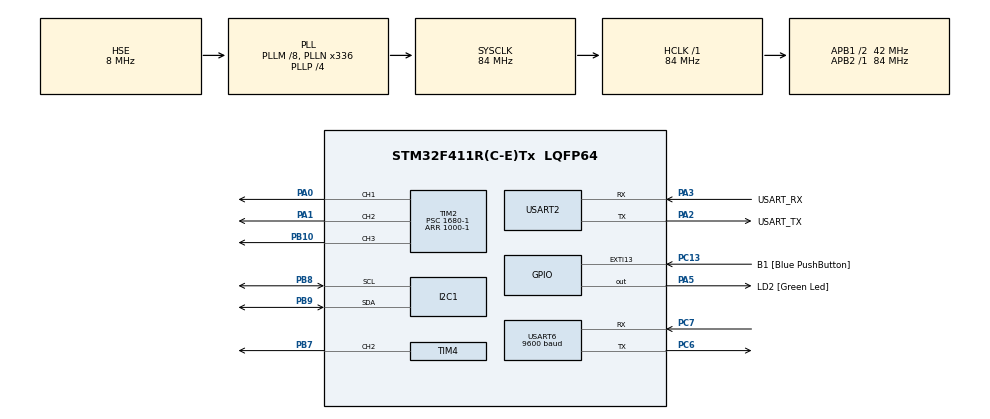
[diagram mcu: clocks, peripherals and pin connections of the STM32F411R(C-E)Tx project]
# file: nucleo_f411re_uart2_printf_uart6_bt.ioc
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Mcu.Family=STM32F4
Mcu.Name=STM32F411R(C-E)Tx
Mcu.Package=LQFP64
NVIC.PriorityGroup=NVIC_PRIORITYGROUP_0
NVIC.TIM4_IRQn=true\:0\:0\:true\:false\:true\:true\:true\:true
NVIC.USART2_IRQn=true\:0\:0\:false\:false\:true\:true\:true\:true
NVIC.USART6_IRQn=true\:0\:0\:false\:false\:true\:true\:true\:true
PA0-WKUP.Signal=S_TIM2_CH1_ETR
PA1.Signal=S_TIM2_CH2
PA13.GPIO_Label=TMS
PA13.Mode=Serial_Wire
PA13.Signal=SYS_JTMS-SWDIO
PA14.GPIO_Label=TCK
PA14.Mode=Serial_Wire
PA14.Signal=SYS_JTCK-SWCLK
PA2.GPIO_Label=USART_TX
PA2.Mode=Asynchronous
PA2.Signal=USART2_TX
PA3.GPIO_Label=USART_RX
PA3.Mode=Asynchronous
PA3.Signal=USART2_RX
PA5.GPIO_Label=LD2 [Green Led]
PA5.Signal=GPIO_Output
PB10.Signal=S_TIM2_CH3
PB3.GPIO_Label=SWO
PB3.Signal=SYS_JTDO-SWO
PB7.Signal=S_TIM4_CH2
PB8.Mode=I2C
PB8.Signal=I2C1_SCL
PB9.Mode=I2C
PB9.Signal=I2C1_SDA
PC13-ANTI_TAMP.GPIO_Label=B1 [Blue PushButton]
PC13-ANTI_TAMP.GPIO_ModeDefaultEXTI=GPIO_MODE_IT_FALLING
PC13-ANTI_TAMP.Signal=GPXTI13
PC14-OSC32_IN.Mode=LSE-External-Oscillator
PC14-OSC32_IN.Signal=RCC_OSC32_IN
PC15-OSC32_OUT.Mode=LSE-External-Oscillator
PC15-OSC32_OUT.Signal=RCC_OSC32_OUT
PC6.Mode=Asynchronous
PC6.Signal=USART6_TX
PC7.Mode=Asynchronous
PC7.Signal=USART6_RX
PH0\ -\ OSC_IN.Mode=HSE-External-Clock-Source
PH0\ -\ OSC_IN.Signal=RCC_OSC_IN
PH1\ -\ OSC_OUT.Mode=HSE-External-Clock-Source
PH1\ -\ OSC_OUT.Signal=RCC_OSC_OUT
ProjectManager.HeapSize=0x200
ProjectManager.StackSize=0x400
ProjectManager.TargetToolchain=STM32CubeIDE
RCC.48MHZClocksFreq_Value=84000000
RCC.AHBFreq_Value=84000000
RCC.APB1CLKDivider=RCC_HCLK_DIV2
RCC.APB1Freq_Value=42000000
RCC.APB1TimFreq_Value=84000000
RCC.APB2Freq_Value=84000000
RCC.APB2TimFreq_Value=84000000
RCC.CortexFreq_Value=84000000
RCC.FLatency-AdvancedSettings=FLASH_LATENCY_2
RCC.HCLKFreq_Value=84000000
RCC.HSE_VALUE=8000000
RCC.HSI_VALUE=16000000
RCC.PLLM=8
RCC.PLLN=336
RCC.PLLP=RCC_PLLP_DIV4
RCC.PLLSourceVirtual=RCC_PLLSOURCE_HSE
RCC.SYSCLKFreq_VALUE=84000000
RCC.SYSCLKSource=RCC_SYSCLKSOURCE_PLLCLK
RCC.VCOOutputFreq_Value=336000000
SH.S_TIM2_CH1_ETR.0=TIM2_CH1,PWM Generation1 CH1
SH.S_TIM2_CH2.0=TIM2_CH2,PWM Generation2 CH2
SH.S_TIM2_CH3.0=TIM2_CH3,PWM Generation3 CH3
SH.S_TIM4_CH2.0=TIM4_CH2,PWM Generation2 CH2
TIM2.AutoReloadPreload=TIM_AUTORELOAD_PRELOAD_ENABLE
TIM2.Channel-PWM\ Generation1\ CH1=TIM_CHANNEL_1
TIM2.Channel-PWM\ Generation2\ CH2=TIM_CHANNEL_2
TIM2.Channel-PWM\ Generation3\ CH3=TIM_CHANNEL_3
TIM2.Period=1000-1
TIM2.Prescaler=1680-1
TIM4.AutoReloadPreload=TIM_AUTORELOAD_PRELOAD_ENABLE
TIM4.Channel-PWM\ Generation2\ CH2=TIM_CHANNEL_2
TIM4.Period=1000-1
TIM4.Prescaler=1680-1
USART2.VirtualMode=VM_ASYNC
USART6.BaudRate=9600
USART6.VirtualMode=VM_ASYNC
VP_TIM2_VS_ClockSourceINT.Mode=Internal
board=NUCLEO-F411RE

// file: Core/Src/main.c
/* USER CODE BEGIN Header */
/**
  ******************************************************************************
  * @file           : main.c
  * @brief          : Main program body
  ******************************************************************************
  * @attention
  *
  * Copyright (c) 2024 STMicroelectronics.
  * All rights reserved.
  *
  * This software is licensed under terms that can be found in the LICENSE file
  * in the root directory of this software component.
  * If no LICENSE file comes with this software, it is provided AS-IS.
  *
  ******************************************************************************
  */
/* USER CODE END Header */
#include "main.h"

/* USER CODE BEGIN Includes */
#include <stdio.h>
#include <string.h>
#include "liquidcrystal_i2c.h"
/* USER CODE END Includes */

/* USER CODE BEGIN PD */
#ifdef __GNUC__
/* With GCC, small printf (option LD Linker->Libraries->Small printf
   set to 'Yes') calls __io_putchar() */
#define PUTCHAR_PROTOTYPE int __io_putchar(int ch)
#else
#define PUTCHAR_PROTOTYPE int fputc(int ch, FILE *f)
#endif /* __GNUC__ */
#define ARR_CNT 5
#define CMD_SIZE 50
/* USER CODE END PD */

I2C_HandleTypeDef hi2c1;

TIM_HandleTypeDef htim2;
TIM_HandleTypeDef htim4;

UART_HandleTypeDef huart2;
UART_HandleTypeDef huart6;

/* USER CODE BEGIN PV */
uint8_t rx2char;
volatile unsigned char rx2Flag = 0;
volatile char rx2Data[50];
volatile unsigned char btFlag = 0;
uint8_t btchar;
char btData[50];
void bluetooth_Event();
/* USER CODE END PV */

void SystemClock_Config(void);
static void MX_GPIO_Init(void);
static void MX_USART2_UART_Init(void);
static void MX_USART6_UART_Init(void);
static void MX_TIM2_Init(void);
static void MX_I2C1_Init(void);
static void MX_TIM4_Init(void);

int main(void)
{

  /* MCU Configuration--------------------------------------------------------*/

  /* Reset of all peripherals, Initializes the Flash interface and the Systick. */
  HAL_Init();

  /* Configure the system clock */
  SystemClock_Config();

  /* Initialize all configured peripherals */
  MX_GPIO_Init();
  MX_USART2_UART_Init();
  MX_USART6_UART_Init();
  MX_TIM2_Init();
  MX_I2C1_Init();
  MX_TIM4_Init();
  /* USER CODE BEGIN 2 */
  HAL_UART_Receive_IT(&huart2, &rx2char,1);
  HAL_UART_Receive_IT(&huart6, &btchar,1);
  HAL_TIM_PWM_Start(&htim2, TIM_CHANNEL_1);
  HAL_TIM_PWM_Start(&htim2, TIM_CHANNEL_2);
  HAL_TIM_PWM_Start(&htim2, TIM_CHANNEL_3);
  HAL_TIM_PWM_Start(&htim4, TIM_CHANNEL_2);
  printf("start main2()\r\n");
  HD44780_Init(2);
  HD44780_Clear();
  while (1)
    {

    	if(rx2Flag)
    	  		  {
				printf("recv2 : %s\r\n",rx2Data);
				rx2Flag =0;
		//	    HAL_UART_Transmit(&huart6, (uint8_t *)buf, strlen(buf), 0xFFFF);
			}
			if(btFlag)
			{
	//		printf("bt : %s\r\n",btData);
				btFlag =0;
				bluetooth_Event();
			}
    /* USER CODE END WHILE */

    }
}

void SystemClock_Config(void)
{
  RCC_OscInitTypeDef RCC_OscInitStruct = {0};
  RCC_ClkInitTypeDef RCC_ClkInitStruct = {0};

  /** Configure the main internal regulator output voltage
  */
  __HAL_RCC_PWR_CLK_ENABLE();
  __HAL_PWR_VOLTAGESCALING_CONFIG(PWR_REGULATOR_VOLTAGE_SCALE1);

  /** Initializes the RCC Oscillators according to the specified parameters
  * in the RCC_OscInitTypeDef structure.
  */
  RCC_OscInitStruct.OscillatorType = RCC_OSCILLATORTYPE_HSE;
  RCC_OscInitStruct.HSEState = RCC_HSE_BYPASS;
  RCC_OscInitStruct.PLL.PLLState = RCC_PLL_ON;
  RCC_OscInitStruct.PLL.PLLSource = RCC_PLLSOURCE_HSE;
  RCC_OscInitStruct.PLL.PLLM = 8;
  RCC_OscInitStruct.PLL.PLLN = 336;
  RCC_OscInitStruct.PLL.PLLP = RCC_PLLP_DIV4;
  RCC_OscInitStruct.PLL.PLLQ = 4;
  if (HAL_RCC_OscConfig(&RCC_OscInitStruct) != HAL_OK)
  {
    Error_Handler();
  }

  /** Initializes the CPU, AHB and APB buses clocks
  */
  RCC_ClkInitStruct.ClockType = RCC_CLOCKTYPE_HCLK|RCC_CLOCKTYPE_SYSCLK
                              |RCC_CLOCKTYPE_PCLK1|RCC_CLOCKTYPE_PCLK2;
  RCC_ClkInitStruct.SYSCLKSource = RCC_SYSCLKSOURCE_PLLCLK;
  RCC_ClkInitStruct.AHBCLKDivider = RCC_SYSCLK_DIV1;
  RCC_ClkInitStruct.APB1CLKDivider = RCC_HCLK_DIV2;
  RCC_ClkInitStruct.APB2CLKDivider = RCC_HCLK_DIV1;

  if (HAL_RCC_ClockConfig(&RCC_ClkInitStruct, FLASH_LATENCY_2) != HAL_OK)
  {
    Error_Handler();
  }
}

static void MX_I2C1_Init(void)
{

  hi2c1.Instance = I2C1;
  hi2c1.Init.ClockSpeed = 100000;
  hi2c1.Init.DutyCycle = I2C_DUTYCYCLE_2;
  hi2c1.Init.OwnAddress1 = 0;
  hi2c1.Init.AddressingMode = I2C_ADDRESSINGMODE_7BIT;
  hi2c1.Init.DualAddressMode = I2C_DUALADDRESS_DISABLE;
  hi2c1.Init.OwnAddress2 = 0;
  hi2c1.Init.GeneralCallMode = I2C_GENERALCALL_DISABLE;
  hi2c1.Init.NoStretchMode = I2C_NOSTRETCH_DISABLE;
  if (HAL_I2C_Init(&hi2c1) != HAL_OK)
  {
    Error_Handler();
  }

}

static void MX_TIM2_Init(void)
{

  TIM_ClockConfigTypeDef sClockSourceConfig = {0};
  TIM_MasterConfigTypeDef sMasterConfig = {0};
  TIM_OC_InitTypeDef sConfigOC = {0};

  htim2.Instance = TIM2;
  htim2.Init.Prescaler = 1680-1;
  htim2.Init.CounterMode = TIM_COUNTERMODE_UP;
  htim2.Init.Period = 1000-1;
  htim2.Init.ClockDivision = TIM_CLOCKDIVISION_DIV1;
  htim2.Init.AutoReloadPreload = TIM_AUTORELOAD_PRELOAD_ENABLE;
  if (HAL_TIM_Base_Init(&htim2) != HAL_OK)
  {
    Error_Handler();
  }
  sClockSourceConfig.ClockSource = TIM_CLOCKSOURCE_INTERNAL;
  if (HAL_TIM_ConfigClockSource(&htim2, &sClockSourceConfig) != HAL_OK)
  {
    Error_Handler();
  }
  if (HAL_TIM_PWM_Init(&htim2) != HAL_OK)
  {
    Error_Handler();
  }
  sMasterConfig.MasterOutputTrigger = TIM_TRGO_RESET;
  sMasterConfig.MasterSlaveMode = TIM_MASTERSLAVEMODE_DISABLE;
  if (HAL_TIMEx_MasterConfigSynchronization(&htim2, &sMasterConfig) != HAL_OK)
  {
    Error_Handler();
  }
  sConfigOC.OCMode = TIM_OCMODE_PWM1;
  sConfigOC.Pulse = 0;
  sConfigOC.OCPolarity = TIM_OCPOLARITY_HIGH;
  sConfigOC.OCFastMode = TIM_OCFAST_DISABLE;
  if (HAL_TIM_PWM_ConfigChannel(&htim2, &sConfigOC, TIM_CHANNEL_1) != HAL_OK)
  {
    Error_Handler();
  }
  if (HAL_TIM_PWM_ConfigChannel(&htim2, &sConfigOC, TIM_CHANNEL_2) != HAL_OK)
  {
    Error_Handler();
  }
  if (HAL_TIM_PWM_ConfigChannel(&htim2, &sConfigOC, TIM_CHANNEL_3) != HAL_OK)
  {
    Error_Handler();
  }
  HAL_TIM_MspPostInit(&htim2);

}

static void MX_TIM4_Init(void)
{

  TIM_MasterConfigTypeDef sMasterConfig = {0};
  TIM_OC_InitTypeDef sConfigOC = {0};

  htim4.Instance = TIM4;
  htim4.Init.Prescaler = 1680-1;
  htim4.Init.CounterMode = TIM_COUNTERMODE_UP;
  htim4.Init.Period = 1000-1;
  htim4.Init.ClockDivision = TIM_CLOCKDIVISION_DIV1;
  htim4.Init.AutoReloadPreload = TIM_AUTORELOAD_PRELOAD_ENABLE;
  if (HAL_TIM_PWM_Init(&htim4) != HAL_OK)
  {
    Error_Handler();
  }
  sMasterConfig.MasterOutputTrigger = TIM_TRGO_RESET;
  sMasterConfig.MasterSlaveMode = TIM_MASTERSLAVEMODE_DISABLE;
  if (HAL_TIMEx_MasterConfigSynchronization(&htim4, &sMasterConfig) != HAL_OK)
  {
    Error_Handler();
  }
  sConfigOC.OCMode = TIM_OCMODE_PWM1;
  sConfigOC.Pulse = 0;
  sConfigOC.OCPolarity = TIM_OCPOLARITY_HIGH;
  sConfigOC.OCFastMode = TIM_OCFAST_DISABLE;
  if (HAL_TIM_PWM_ConfigChannel(&htim4, &sConfigOC, TIM_CHANNEL_2) != HAL_OK)
  {
    Error_Handler();
  }
  HAL_TIM_MspPostInit(&htim4);

}

static void MX_USART2_UART_Init(void)
{

  huart2.Instance = USART2;
  huart2.Init.BaudRate = 115200;
  huart2.Init.WordLength = UART_WORDLENGTH_8B;
  huart2.Init.StopBits = UART_STOPBITS_1;
  huart2.Init.Parity = UART_PARITY_NONE;
  huart2.Init.Mode = UART_MODE_TX_RX;
  huart2.Init.HwFlowCtl = UART_HWCONTROL_NONE;
  huart2.Init.OverSampling = UART_OVERSAMPLING_16;
  if (HAL_UART_Init(&huart2) != HAL_OK)
  {
    Error_Handler();
  }

}

static void MX_USART6_UART_Init(void)
{

  huart6.Instance = USART6;
  huart6.Init.BaudRate = 9600;
  huart6.Init.WordLength = UART_WORDLENGTH_8B;
  huart6.Init.StopBits = UART_STOPBITS_1;
  huart6.Init.Parity = UART_PARITY_NONE;
  huart6.Init.Mode = UART_MODE_TX_RX;
  huart6.Init.HwFlowCtl = UART_HWCONTROL_NONE;
  huart6.Init.OverSampling = UART_OVERSAMPLING_16;
  if (HAL_UART_Init(&huart6) != HAL_OK)
  {
    Error_Handler();
  }

}

static void MX_GPIO_Init(void)
{
  GPIO_InitTypeDef GPIO_InitStruct = {0};

  /* GPIO Ports Clock Enable */
  __HAL_RCC_GPIOC_CLK_ENABLE();
  __HAL_RCC_GPIOH_CLK_ENABLE();
  __HAL_RCC_GPIOA_CLK_ENABLE();
  __HAL_RCC_GPIOB_CLK_ENABLE();

  /*Configure GPIO pin Output Level */
  HAL_GPIO_WritePin(LD2_GPIO_Port, LD2_Pin, GPIO_PIN_RESET);

  /*Configure GPIO pin : B1_Pin */
  GPIO_InitStruct.Pin = B1_Pin;
  GPIO_InitStruct.Mode = GPIO_MODE_IT_FALLING;
  GPIO_InitStruct.Pull = GPIO_NOPULL;
  HAL_GPIO_Init(B1_GPIO_Port, &GPIO_InitStruct);

  /*Configure GPIO pin : LD2_Pin */
  GPIO_InitStruct.Pin = LD2_Pin;
  GPIO_InitStruct.Mode = GPIO_MODE_OUTPUT_PP;
  GPIO_InitStruct.Pull = GPIO_NOPULL;
  GPIO_InitStruct.Speed = GPIO_SPEED_FREQ_LOW;
  HAL_GPIO_Init(LD2_GPIO_Port, &GPIO_InitStruct);

}

/* USER CODE BEGIN 4 */
void MX_GPIO_LED_ON(int pin)
{
	HAL_GPIO_WritePin(LD2_GPIO_Port, pin, GPIO_PIN_SET);
}
void MX_GPIO_LED_OFF(int pin)
{
	HAL_GPIO_WritePin(LD2_GPIO_Port, pin, GPIO_PIN_RESET);
}
void bluetooth_Event()
{
  int i=0;
  char * pToken;
  char * pArray[ARR_CNT]={0};
  char recvBuf[CMD_SIZE]={0};
  char sendBuf[CMD_SIZE]={0};
  strcpy(recvBuf,btData);

  printf("btData : %s\r\n",btData);

  pToken = strtok(recvBuf,"[@]");
  while(pToken != NULL)
  {
    pArray[i] =  pToken;
    if(++i >= ARR_CNT)
      break;
    pToken = strtok(NULL,"[@]");
  }

  if(!strcmp(pArray[1],"RED"))
  {
  	if(!strcmp(pArray[2],"ON"))
		{
  		Set_RGB_Color(255,0,0);
  		HD44780_Clear();
  		HD44780_SetCursor(0,0);
  		HD44780_PrintStr("WARNING!!!");
  		__HAL_TIM_SetCompare(&htim4, TIM_CHANNEL_2, 100);
  		HAL_Delay(1000);
		}
		else if(!strcmp(pArray[2],"OFF"))
		{
			Set_RGB_Color(0,0,0);
		}
  }
  else if(!strcmp(pArray[1],"YELLOW"))
    {
    	if(!strcmp(pArray[2],"ON"))
  		{
    		Set_RGB_Color(255,50,0);
    		HD44780_Clear();
    		HD44780_SetCursor(0,0);
    		HD44780_PrintStr("So So");
    		__HAL_TIM_SetCompare(&htim4, TIM_CHANNEL_2, 75);
    		HAL_Delay(1000);
  		}
  		else if(!strcmp(pArray[2],"OFF"))
  		{
  			Set_RGB_Color(0,0,0);
  		}
    }
  else if(!strcmp(pArray[1],"GREEN"))
      {
      	if(!strcmp(pArray[2],"ON"))
    		{
      		Set_RGB_Color(0,0,255);
      		HD44780_Clear();
      		HD44780_SetCursor(0,0);
      		HD44780_PrintStr("GOOD");
      		__HAL_TIM_SetCompare(&htim4, TIM_CHANNEL_2, 50);
      		HAL_Delay(1000);
    		}
    		else if(!strcmp(pArray[2],"OFF"))
    		{
    			Set_RGB_Color(0,0,0);
    		}
      }
  else if(!strncmp(pArray[1]," New conn",sizeof(" New conn")))
  {
      return;
  }
  else if(!strncmp(pArray[1]," Already log",sizeof(" Already log")))
  {
      return;
  }
  else
      return;

  sprintf(sendBuf,"[%s]%s@%s\n",pArray[0],pArray[1],pArray[2]);
  HAL_UART_Transmit(&huart6, (uint8_t *)sendBuf, strlen(sendBuf), 0xFFFF);

}
/**
  * @brief  Retargets the C library printf function to the USART.
  * @param  None
  * @retval None
  */
PUTCHAR_PROTOTYPE
{
  /* Place your implementation of fputc here */
  /* e.g. write a character to the USART6 and Loop until the end of transmission */
  HAL_UART_Transmit(&huart2, (uint8_t *)&ch, 1, 0xFFFF);

  return ch;
}
void HAL_UART_RxCpltCallback(UART_HandleTypeDef *huart)
{
    if(huart->Instance == USART2)
    {
    	static int i=0;
    	rx2Data[i] = rx2char;
    	if((rx2Data[i] == '\r')||(btData[i] == '\n'))
    	{
    		rx2Data[i] = '\0';
    		rx2Flag = 1;
    		i = 0;
    	}
    	else
    	{
    		i++;
    	}
    	HAL_UART_Receive_IT(&huart2, &rx2char,1);
    }
    if(huart->Instance == USART6)
    {
    	static int i=0;
    	btData[i] = btchar;
    	if((btData[i] == '\n') || btData[i] == '\r')
    	{
    		btData[i] = '\0';
    		btFlag = 1;
    		i = 0;
    	}
    	else
    	{
    		i++;
    	}
    	HAL_UART_Receive_IT(&huart6, &btchar,1);
    }
}

void Set_RGB_Color(uint8_t red, uint8_t green, uint8_t blue) {
    // red, green, blue 값�? 0-255 범위
    __HAL_TIM_SET_COMPARE(&htim2, TIM_CHANNEL_1, red);
    __HAL_TIM_SET_COMPARE(&htim2, TIM_CHANNEL_2, green);
    __HAL_TIM_SET_COMPARE(&htim2, TIM_CHANNEL_3, blue);
}
/* USER CODE END 4 */

void Error_Handler(void)
{
  __disable_irq();
  while (1)
  {
  }
}
